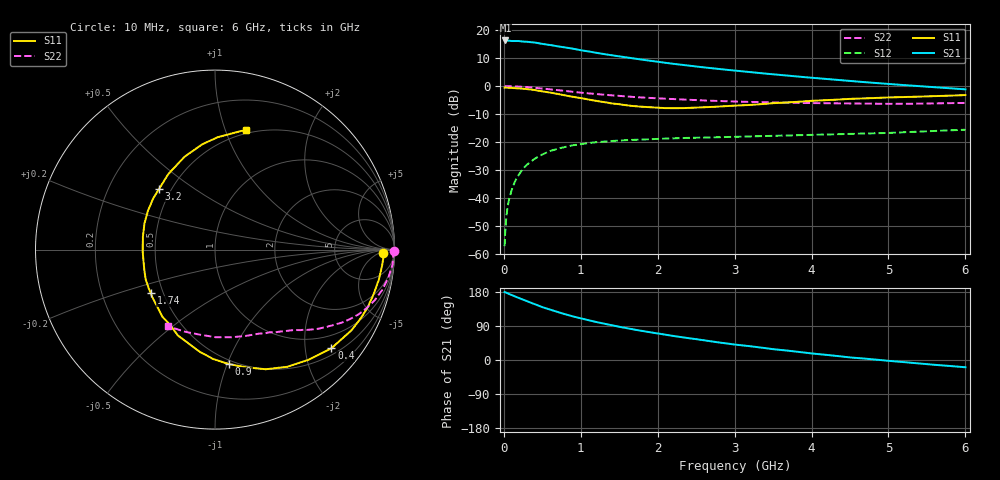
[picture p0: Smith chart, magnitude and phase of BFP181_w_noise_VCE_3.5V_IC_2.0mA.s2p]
! Infineon Technologies  Discrete & RF Semiconductors
! BFP181
! VCE = 3.5 V,  IC =  2.0 mA
! Common Emitter S-Parameters:  Jan 2016
# GHz  S  MA  R  50
!  f  S11  S21  S12  S22
! GHz  MAG  ANG  MAG  ANG  MAG  ANG  MAG  ANG
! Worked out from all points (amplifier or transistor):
!   210 points, 10 MHz to 6 GHz, reference 50 ohm
!   highest |S21| = 16.2 dB at 20 MHz (marker M1)
!   |S21| within 3 dB of that: start of sweep to 910.8 MHz
!   unconditionally stable (mu >= 1): 2.472 GHz to end of sweep
!   at 185 MHz: K = 0.10, MSG = 24.0 dB, |S12| = -32.0 dB
!   at 1.52 GHz: K = 0.68, MSG = 15.0 dB, |S12| = -19.4 dB
!   at 6 GHz: K = 1.15, MAG = 4.9 dB, |S12| = -15.6 dB
!   lowest NFmin = 1.35 dB at 450 MHz
!   S11 on the Smith chart (normalised r, x): 10 MHz: 27, -9; 400 MHz: 0.65, -2.58; 900 MHz: 0.47, -1.01; 1.74 GHz: 0.43, -0.26; 3.2 GHz: 0.43, +0.37; 6 GHz: 0.46, +1.18
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0.01  0.9363 -1.3  6.412 179.2  0.0014 86.1  0.9975 -0.4
0.02  0.9403 -2.1  6.49 178.8  0.0028 86.9  0.9908 -0.9
0.035  0.9377 -3.6  6.482 177.3  0.005 88.9  0.992 -1.6
0.06  0.9337 -6.1  6.448 174.9  0.0085 87.3  0.9931 -2.8
0.135  0.9204 -14.0  6.357 168.6  0.0185 80.7  0.9874 -6.2
0.2  0.9096 -20.6  6.33 163.1  0.0269 77.2  0.9785 -9.3
0.3  0.8831 -30.7  6.151 155.4  0.0396 71.9  0.9587 -13.5
0.4  0.85 -40.3  5.974 146.9  0.0504 65.9  0.9334 -17.6
0.6  0.7673 -58.3  5.403 132.9  0.0693 56.2  0.8754 -24.5
0.8  0.6792 -75.1  4.889 120.4  0.0826 48.0  0.8158 -29.9
0.9  0.6425 -83.1  4.627 114.9  0.0881 44.7  0.7868 -32.1
1.02  0.6027 -92.2  4.298 108.8  0.0926 41.1  0.757 -34.7
1.3  0.5212 -113.4  3.714 96.0  0.1024 34.5  0.7003 -39.4
1.5  0.4749 -128.2  3.393 87.6  0.1068 31.0  0.6654 -42.2
1.74  0.4329 -145.7  3.027 78.7  0.1106 27.8  0.6314 -45.3
2.02  0.4086 -164.7  2.677 69.4  0.1149 24.6  0.6027 -48.8
2.48  0.4101 166.6  2.244 55.5  0.1197 21.0  0.5633 -54.9
3.1  0.4527 136.3  1.83 38.7  0.1255 17.9  0.5249 -63.6
3.2  0.4603 132.4  1.772 36.4  0.1266 17.6  0.5209 -65.2
4.1  0.5522 105.7  1.367 15.4  0.1362 14.3  0.494 -81.3
5.1  0.6308 87.3  1.064 -3.8  0.1481 12.4  0.4814 -102.2
6  0.69 75.5  0.873 -19.2  0.1665 9.7  0.5003 -121.8
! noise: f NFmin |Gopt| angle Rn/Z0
0.45  1.35  0.6  17  0.4
0.9  1.45  0.5  36  0.4
1.8  1.8  0.31  80  0.37
